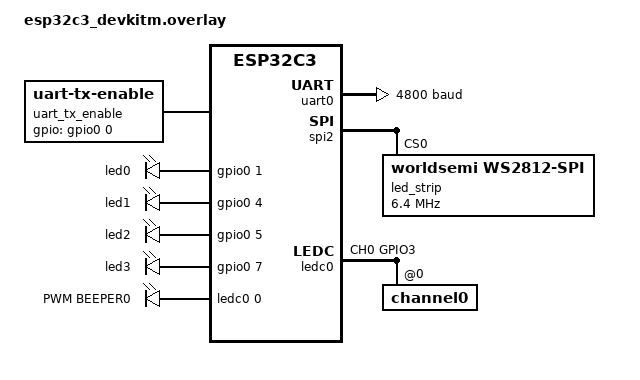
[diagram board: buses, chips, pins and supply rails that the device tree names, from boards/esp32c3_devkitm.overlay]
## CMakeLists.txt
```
# SPDX-License-Identifier: Apache-2.0

cmake_minimum_required(VERSION 3.20.0)

find_package(Zephyr REQUIRED HINTS $ENV{ZEPHYR_BASE})
project(vtbt)

target_sources(app PRIVATE src/main.c)
target_sources(app PRIVATE src/lk201.c)
```

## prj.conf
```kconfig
CONFIG_BT=y
CONFIG_BT_CENTRAL=y
CONFIG_BT_PRIVACY=y
CONFIG_BT_GATT_CLIENT=y
CONFIG_BT_BONDABLE=y
CONFIG_BT_SMP=y
CONFIG_BT_FIXED_PASSKEY=y
CONFIG_BT_SETTINGS=y
CONFIG_BT_SETTINGS_CCC_LAZY_LOADING=y
CONFIG_FLASH=y
CONFIG_FLASH_PAGE_LAYOUT=y
CONFIG_FLASH_MAP=y
CONFIG_NVS=y
# Uncomment to allow saving devices
#CONFIG_SETTINGS=y
CONFIG_BT_MAX_CONN=1
CONFIG_BT_MAX_PAIRED=1

CONFIG_SERIAL=y
CONFIG_UART_INTERRUPT_DRIVEN=y

CONFIG_LOG=n
CONFIG_LOG_DEFAULT_LEVEL=3
CONFIG_BT_DEBUG_LOG=n

CONFIG_LED_STRIP=y
CONFIG_WS2812_STRIP=y

CONFIG_SHELL_BACKEND_SERIAL=n
CONFIG_BOOT_BANNER=n
```

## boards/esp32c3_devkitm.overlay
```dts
/*
 * Copyright (c) 2022 Espressif Systems (Shanghai) Co., Ltd.
 *
 * SPDX-License-Identifier: Apache-2.0
 */

#include <zephyr/dt-bindings/led/led.h>
#include <zephyr/dt-bindings/pwm/pwm.h>

&uart0 {
	current-speed = <4800>;
};

&spi2 {
	/* Workaround to support WS2812 driver */
	line-idle-low;

        led_strip: ws2812@0 {
                compatible = "worldsemi,ws2812-spi";

                /* SPI */
                reg = <0>; /* ignored, but necessary for SPI bindings */
                spi-max-frequency = <6400000>;

                /* WS2812 */
                chain-length = <1>; /* arbitrary; change at will */
                spi-cpha;
                spi-one-frame = <0xf0>; /* 11110000: 625 ns high and 625 ns low */
                spi-zero-frame = <0xc0>; /* 11000000: 312.5 ns high and 937.5 ns low */
                color-mapping = <LED_COLOR_ID_GREEN
                                 LED_COLOR_ID_RED
                                 LED_COLOR_ID_BLUE>;
        };
};

&pinctrl {
	spim2_default: spim2_default {
		group2 {
			pinmux = <SPIM2_MOSI_GPIO8>;
		};
	};
	ledc0_default: ledc0_default {
		group1 {
			pinmux = <LEDC_CH0_GPIO3>;
			output-enable;
		};
	};
};

/ {
        aliases {
                led-strip = &led_strip;
        };

	chosen {
		zephyr,vt-uart = &uart0;
	};
//	chosen {
//		/delete-property/ zephyr,console;
//	};

        uart_tx_enable: uart_tx_enable {
                compatible = "uart-tx-enable";
                gpios = <&gpio0 0 GPIO_ACTIVE_HIGH>;
        };

	leds {
		compatible = "gpio-leds";
		led0: led0 {
			gpios = <&gpio0 1 GPIO_ACTIVE_HIGH>;
		};
		led1: led1 {
			gpios = <&gpio0 4 GPIO_ACTIVE_HIGH>;
		};
		led2: led2 {
			gpios = <&gpio0 5 GPIO_ACTIVE_HIGH>;
		};
		led3: led3 {
			gpios = <&gpio0 7 GPIO_ACTIVE_HIGH>;
		};
	};

	aliases {
		pwm-0 = &ledc0;
		pwm-beeper0 = &pwm_beeper;
	};

	pwmbeepers {
		compatible = "pwm-leds";
		pwm_beeper: pwm_led_gpio0_3 {
			label = "PWM BEEPER0";
			/* ~2 KHz */
			pwms = <&ledc0 0 40000000 PWM_POLARITY_NORMAL>;
		};
	};
};

&ledc0 {
        pinctrl-0 = <&ledc0_default>;
        pinctrl-names = "default";
        status = "okay";
        #address-cells = <1>;
        #size-cells = <0>;
        channel0@0 {
                reg = <0x0>;
                timer = <0>;
        };
};
```

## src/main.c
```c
#include <string.h>

#include <zephyr/kernel.h>
#include <zephyr/drivers/gpio.h>
#include <zephyr/drivers/uart.h>
#include <zephyr/logging/log.h>
#include <zephyr/drivers/pwm.h>

#include "lk201.h"
#include "bluetooth.h"
#include "config.h"

#define UART_DEVICE_NODE DT_CHOSEN(zephyr_vt_uart)

static const struct device *const uart_dev = DEVICE_DT_GET(UART_DEVICE_NODE);

static const struct gpio_dt_spec uart_tx_enable =
	GPIO_DT_SPEC_GET_OR(DT_NODELABEL(uart_tx_enable), gpios, {0});

#define NUM_LEDS 4
static const struct gpio_dt_spec leds[NUM_LEDS] = {
	GPIO_DT_SPEC_GET_OR(DT_NODELABEL(led0), gpios, {0}),
	GPIO_DT_SPEC_GET_OR(DT_NODELABEL(led1), gpios, {0}),
	GPIO_DT_SPEC_GET_OR(DT_NODELABEL(led2), gpios, {0}),
	GPIO_DT_SPEC_GET_OR(DT_NODELABEL(led3), gpios, {0}),
};

static const struct pwm_dt_spec pwm_beeper0 = PWM_DT_SPEC_GET(DT_ALIAS(pwm_beeper0));

LOG_MODULE_REGISTER(lk201, CONFIG_LOG_DEFAULT_LEVEL);

static int keys[NUM_KEYS];

static struct repeat_buffer repeat_buffers[NUM_REPEAT_BUFFERS] = {
	{ .timeout = 500, .interval = 30 },
	{ .timeout = 300, .interval = 30 },
	{ .timeout = 500, .interval = 40 },
	{ .timeout = 300, .interval = 40 },
};

static struct division divisions[NUM_DIVISIONS] = {
	{ .mode = MODE_AUTO_REPEAT,   .buffer =  0 }, /* Main array */
	{ .mode = MODE_AUTO_REPEAT,   .buffer =  0 }, /* Keypad */
	{ .mode = MODE_AUTO_REPEAT,   .buffer =  1 }, /* Delete */
	{ .mode = MODE_DOWN_ONLY,     .buffer = -1 }, /* Return and tab */
	{ .mode = MODE_DOWN_ONLY,     .buffer = -1 }, /* Lock and compose */
	{ .mode = MODE_DOWN_UP,       .buffer = -1 }, /* Shift and control */
	{ .mode = MODE_AUTO_REPEAT,   .buffer =  1 }, /* Horizontal cursors */
	{ .mode = MODE_AUTO_REPEAT,   .buffer =  1 }, /* Vertical cursors */
	{ .mode = MODE_DOWN_UP,       .buffer = -1 }, /* Six editing keys */
	{ .mode = MODE_DOWN_UP,       .buffer = -1 }, /* Function keys 1 */
	{ .mode = MODE_DOWN_UP,       .buffer = -1 }, /* Function keys 2 */
	{ .mode = MODE_DOWN_UP,       .buffer = -1 }, /* Function keys 3 */
	{ .mode = MODE_DOWN_UP,       .buffer = -1 }, /* Function keys 4 */
	{ .mode = MODE_DOWN_UP,       .buffer = -1 }, /* Function keys 5 */
};

/* hid_to_lk201_map */
#include "lk201_map.c"

static int
hid_to_lk201(int hid)
{
	if (hid < sizeof(hid_to_lk201_map)) {
		return hid_to_lk201_map[hid];
	} else {
		return 0x00;
	}
}

static int
lk201_keycode_to_division(int keycode)
{
	if ((keycode >= 0x56) && (keycode <= 0x62)) {
		return DIVISION_FUNCTION_KEYS_1;
	} else if ((keycode >= 0x63) && (keycode <= 0x6E)) {
		return DIVISION_FUNCTION_KEYS_2;
	} else if ((keycode >= 0x6F) && (keycode <= 0x7A)) {
		return DIVISION_FUNCTION_KEYS_3;
	} else if ((keycode >= 0x7B) && (keycode <= 0x7D)) {
		return DIVISION_FUNCTION_KEYS_4;
	} else if ((keycode >= 0x7E) && (keycode <= 0x87)) {
		return DIVISION_FUNCTION_KEYS_5;
	} else if ((keycode >= 0x88) && (keycode <= 0x90)) {
		return DIVISION_SIX_EDITING_KEYS;
	} else if ((keycode >= 0x91) && (keycode <= 0xA5)) {
		return DIVISION_KEYPAD;
	} else if ((keycode >= 0xA6) && (keycode <= 0xA8)) {
		return DIVISION_HORIZONTAL_CURSORS;
	} else if ((keycode >= 0xA9) && (keycode <= 0xAC)) {
		return DIVISION_VERTICAL_CURSORS;
	} else if ((keycode >= 0xAD) && (keycode <= 0xAF)) {
		return DIVISION_SHIFT_AND_CTRL;
	} else if ((keycode >= 0xB0) && (keycode <= 0xB2)) {
		return DIVISION_LOCK_AND_COMPOSE;
	} else if (keycode == 0xBC) {
		return DIVISION_DELETE;
	} else if ((keycode >= 0xBD) && (keycode <= 0xBE)) {
		return DIVISION_RETURN_AND_TAB;
	} else if ((keycode >= 0xBF) && (keycode <= 0xFF)) {
		return DIVISION_MAIN_ARRAY;
	} else {
		return -1;
	}
}

static uint8_t last_report[HID_REPORT_SIZE] = { 0x00 };

static bool is_in_report(int keycode, const uint8_t *report)
{
	for (int i = HID_REPORT_FIRST_KEY; i < HID_REPORT_SIZE; i++) {
		if (keycode == report[i]) {
			return true;
		}
	}

	return false;
}

K_MUTEX_DEFINE(uart_tx_mutex);

static void lk201_key_down(int keycode)
{
	if (keycode == 0x00) {
		return;
	}

	/* TODO */
	k_mutex_lock(&uart_tx_mutex, K_FOREVER);
	/* All Ups */
	uart_poll_out(uart_dev, keycode);
	k_mutex_unlock(&uart_tx_mutex);
}

static void lk201_key_up(int keycode)
{
	if (keycode == 0x00) {
		return;
	}

	/* TODO */
	k_mutex_lock(&uart_tx_mutex, K_FOREVER);
	/* All Ups */
	uart_poll_out(uart_dev, 0xB3);
	k_mutex_unlock(&uart_tx_mutex);
}

void hid_report_cb(const uint8_t *this_report)
{
	for (int i = HID_REPORT_FIRST_KEY; i < HID_REPORT_SIZE; i++) {
		if ((this_report[i] != 0x00) &&
		    !is_in_report(this_report[i], last_report)) {
			lk201_key_down(hid_to_lk201(this_report[i]));
		}
		if ((last_report[i] != 0x00) &&
		    !is_in_report(last_report[i], this_report)) {
			lk201_key_up(hid_to_lk201(last_report[i]));
		}
	}

	const uint8_t this_modifiers = this_report[0];
	const uint8_t last_modifiers = last_report[0];

	for (int i = 0; i < 8; i++) {
		int key = 0;
		if ((i == 0) || (i == 4)) {
			key = LK201_CTRL; /* Ctrl */
		} else if ((i == 1) || (i == 5)) {
			key = LK201_SHIFT; /* Shift*/
		} else {
			continue;
		}
		if ((this_modifiers & (1 << i)) &&
		    !(last_modifiers & (1 << i))) {
			lk201_key_down(key);
		}
		if ((last_modifiers & (1 << i)) &&
		    !(this_modifiers & (1 << i))) {
			lk201_key_up(key);
		}
	}

	memcpy(last_report, this_report, sizeof(last_report));
}

static void
send_power_on_test_result(void) {
	k_mutex_lock(&uart_tx_mutex, K_FOREVER);
	uart_poll_out(uart_dev, SPECIAL_KEYBOARD_ID_FIRMWARE);
	uart_poll_out(uart_dev, SPECIAL_KEYBOARD_ID_HARDWARE);
	uart_poll_out(uart_dev, 0x00); /* ERROR */
	uart_poll_out(uart_dev, 0x00); /* KEYCODE */
	k_mutex_unlock(&uart_tx_mutex);
}

struct message {
	uint8_t size;
	uint8_t buf[4];
};

K_MSGQ_DEFINE(uart_msgq, sizeof(struct message), 10, 4);

static void
serial_cb(const struct device *dev, void *user_data)
{
	struct message message = { 0 , { 0 } };

	uint8_t c;

	if (!uart_irq_update(uart_dev)) {
		return;
	}

	if (!uart_irq_rx_ready(uart_dev)) {
		return;
	}

	/* read until FIFO empty */
	while (uart_fifo_read(uart_dev, &c, 1) == 1) {
		if (c & 0x80) {
			/* no more parameters */
			message.buf[message.size++] = c;
			k_msgq_put(&uart_msgq, &message, K_NO_WAIT);
			message.size = 0;
		} else if (message.size < (sizeof(message.buf) - 1)) {
			message.buf[message.size++] = c;
		}
	}
}

static int keyclick_volume = -1;
static int bell_volume = -1;

K_MUTEX_DEFINE(beeper_mutex);

static void
beeper_on(int volume)
{
	const uint32_t pulse = (pwm_beeper0.period / 2U) * (8 - volume) / 8;
	k_mutex_lock(&beeper_mutex, K_FOREVER);
	int ret = pwm_set_dt(&pwm_beeper0, pwm_beeper0.period, pulse);
	k_mutex_unlock(&beeper_mutex);
	if (ret) {
		LOG_ERR("Error %d: failed to set pulse width", ret);
	}
}

static void
beeper_off(void)
{
	k_mutex_lock(&beeper_mutex, K_FOREVER);
	int ret = pwm_set_dt(&pwm_beeper0, pwm_beeper0.period, 0);
	k_mutex_unlock(&beeper_mutex);
	if (ret) {
		LOG_ERR("Error %d: failed to set pulse width", ret);
	}
}

void beeper_off_work_handler(struct k_work *work)
{
	beeper_off();
}

K_WORK_DEFINE(beeper_off_work, beeper_off_work_handler);

void beeper_off_timer_handler(struct k_timer *dummy)
{
    k_work_submit(&beeper_off_work);
}

K_TIMER_DEFINE(beeper_off_timer, beeper_off_timer_handler, NULL);

static void
sound_keyclick(void)
{
	if (keyclick_volume < 0) {
		return;
	}

	beeper_on(keyclick_volume);

	k_timer_start(&beeper_off_timer, K_MSEC(2), K_FOREVER);
}

static void
sound_bell(void)
{
	if (bell_volume < 0) {
		return;
	}

	beeper_on(bell_volume);

	k_timer_start(&beeper_off_timer, K_MSEC(125), K_FOREVER);
}

static void
handle_message(struct message *message)
{
	if ((message->size == 1) && (message->buf[0] == 0xFD)) {
		send_power_on_test_result();
	} else {
		k_mutex_lock(&uart_tx_mutex, K_FOREVER);
		uart_poll_out(uart_dev, 0xBA);
		k_mutex_unlock(&uart_tx_mutex);
	}

	if ((message->size == 2) && (message->buf[0] == 0x11)) {
		/* LEDS off */
		for (int i = 0; i < 4; i++) {
			if (message->buf[1] & (1 << i)) {
				gpio_pin_set_dt(&leds[i], 0);
			}
		}
	} else if ((message->size == 2) && (message->buf[0] == 0x13)) {
		/* LEDS on */
		for (int i = 0; i < 4; i++) {
			if (message->buf[1] & (1 << i)) {
				gpio_pin_set_dt(&leds[i], 1);
			}
		}
	} else if ((message->size == 1) && (message->buf[0] == 0x99)) {
		/* Disable keyclick */
		keyclick_volume = -1;
	} else if ((message->size == 2) && (message->buf[0] == 0x1B)) {
		/* Enable keyclick, set volume */
		keyclick_volume = message->buf[1] & 0x07;
	} else if ((message->size == 1) && (message->buf[0] == 0x9F)) {
		/* Sound keyclick */
		sound_keyclick();
	} else if ((message->size == 1) && (message->buf[0] == 0xA1)) {
		/* Disable bell */
		bell_volume = -1;
	} else if ((message->size == 2) && (message->buf[0] == 0x23)) {
		/* Enable keyclick, set volume */
		bell_volume = message->buf[1] & 0x07;
	} else if ((message->size == 1) && (message->buf[0] == 0xA7)) {
		/* Sound keyclick */
		sound_bell();
	}
}

static void
handle_messages(void)
{
	struct message message;

	while (k_msgq_get(&uart_msgq, &message, K_FOREVER) == 0) {
		handle_message(&message);
	}
}

int
main(void)
{
	int ret;

	if (!device_is_ready(uart_dev)) {
		LOG_ERR("UART device not found");
		return -1;
	}

	if (!gpio_is_ready_dt(&uart_tx_enable)) {
		LOG_ERR("UART TX enable pin GPIO port is not ready.");
		return -1;
	}

	ret = gpio_pin_configure_dt(&uart_tx_enable, GPIO_OUTPUT_ACTIVE);
	if (ret != 0) {
		LOG_ERR("Configuring GPIO pin failed: %d", ret);
		return -1;
	}

	for (int i = 0; i < NUM_LEDS; i++) {
		if (!gpio_is_ready_dt(&leds[i])) {
			LOG_ERR("led%d pin GPIO port is not ready.", i);
			return -1;
		}

		ret = gpio_pin_configure_dt(&leds[i], GPIO_OUTPUT_INACTIVE);
		if (ret != 0) {
			LOG_ERR("Configuring GPIO pin failed: %d", ret);
			return -1;
		}
	}

        if (!pwm_is_ready_dt(&pwm_beeper0)) {
                printk("Error: PWM device %s is not ready\n",
                       pwm_beeper0.dev->name);
                return 0;
        }

	for (int i = 0; i < NUM_KEYS; i++) {
		keys[i] = -1;
	}

	for (int i = 0; i < NUM_REPEAT_BUFFERS; i++) {
		repeat_buffers[i].timeout = 300;
		repeat_buffers[i].interval = 30;
	}

	send_power_on_test_result();

	ret = uart_irq_callback_user_data_set(uart_dev, serial_cb, NULL);
	if (ret < 0) {
		if (ret == -ENOTSUP) {
			LOG_ERR("Interrupt-driven UART API support not enabled");
		} else if (ret == -ENOSYS) {
			LOG_ERR("UART device does not support interrupt-driven API");
		} else {
			LOG_ERR("Error setting UART callback: %d", ret);
		}
		return -1;
	}
	uart_irq_rx_enable(uart_dev);

	ret = bluetooth_listen(hid_report_cb);
	if (ret < 0) {
		LOG_ERR("Bluetooth listening failed");
		return -1;
	}

	handle_messages();
}
```

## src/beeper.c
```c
#include <zephyr/kernel.h>
#include <zephyr/drivers/pwm.h>
#include <zephyr/logging/log.h>

#include "beeper.h"

LOG_MODULE_REGISTER(beeper, CONFIG_LOG_DEFAULT_LEVEL);

K_MUTEX_DEFINE(beeper_mutex);

static const struct pwm_dt_spec pwm_beeper0 =
	PWM_DT_SPEC_GET(DT_ALIAS(pwm_beeper0));

static int keyclick_volume = -1;
static int bell_volume = -1;

int
beeper_init(void)
{
	int ret = pwm_is_ready_dt(&pwm_beeper0);
        if (!ret) {
                printk("Error: Beeper PWM device %s is not ready\n",
                       pwm_beeper0.dev->name);
        }
	return ret;
}

void
beeper_set_bell_volume(int volume)
{
	bell_volume = volume;
}

void
beeper_set_keyclick_volume(int volume)
{
	keyclick_volume = volume;
}

static void
beeper_on(int volume)
{
	const uint32_t pulse = (pwm_beeper0.period / 2U) * (8 - volume) / 8;
	k_mutex_lock(&beeper_mutex, K_FOREVER);
	int ret = pwm_set_dt(&pwm_beeper0, pwm_beeper0.period, pulse);
	k_mutex_unlock(&beeper_mutex);
	if (ret) {
		LOG_ERR("Error %d: failed to set pulse width", ret);
	}
}

static void
beeper_off(void)
{
	k_mutex_lock(&beeper_mutex, K_FOREVER);
	int ret = pwm_set_dt(&pwm_beeper0, pwm_beeper0.period, 0);
	k_mutex_unlock(&beeper_mutex);
	if (ret) {
		LOG_ERR("Error %d: failed to set pulse width", ret);
	}
}

void beeper_off_work_handler(struct k_work *work)
{
	beeper_off();
}

K_WORK_DEFINE(beeper_off_work, beeper_off_work_handler);

void beeper_off_timer_handler(struct k_timer *dummy)
{
	k_work_submit(&beeper_off_work);
}

K_TIMER_DEFINE(beeper_off_timer, beeper_off_timer_handler, NULL);

void
beeper_sound_keyclick(void)
{
	if (keyclick_volume < 0) {
		return;
	}

	beeper_on(keyclick_volume);

	k_timer_start(&beeper_off_timer, K_MSEC(2), K_FOREVER);
}

void
beeper_sound_bell(void)
{
	if (bell_volume < 0) {
		return;
	}

	beeper_on(bell_volume);

	k_timer_start(&beeper_off_timer, K_MSEC(125), K_FOREVER);
}
```

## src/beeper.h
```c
#ifndef BEEPER_H
#define BEEPER_H

/* Volumes are 0 (highest) to 7 (lowest) or -1 (disabled) */

int beeper_init(void);
void beeper_set_bell_volume(int volume);
void beeper_set_keyclick_volume(int volume);
void beeper_sound_bell(void);
void beeper_sound_keyclick(void);

#endif /* BEEPER_H */
```

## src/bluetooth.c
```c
/*
 * Copyright (c) 2015-2016 Intel Corporation
 *
 * SPDX-License-Identifier: Apache-2.0
 */

#include <zephyr/types.h>
#include <stddef.h>
#include <errno.h>
#include <zephyr/logging/log.h>
#include <zephyr/kernel.h>

#include <zephyr/drivers/uart.h>

#include <zephyr/bluetooth/bluetooth.h>
#include <zephyr/bluetooth/hci.h>
#include <zephyr/bluetooth/conn.h>
#include <zephyr/bluetooth/uuid.h>
#include <zephyr/bluetooth/gatt.h>
#include <zephyr/settings/settings.h>
#include <zephyr/sys/byteorder.h>

#include <zephyr/drivers/led_strip.h>

#include "vtbt.h"
#include "lk201.h"

#define STRIP_NODE              DT_ALIAS(led_strip)
#define STRIP_NUM_PIXELS        DT_PROP(DT_ALIAS(led_strip), chain_length)

LOG_MODULE_REGISTER(main, CONFIG_LOG_DEFAULT_LEVEL);

static void (*hid_report_cb)(const uint8_t *report);

static struct led_rgb pixels[STRIP_NUM_PIXELS];

static const struct device *const strip = DEVICE_DT_GET(STRIP_NODE);

static const struct led_rgb color_black = { .r = 0x00, .g = 0x00, .b = 0x00 };
static const struct led_rgb color_amber = { .r = 0x03, .g = 0x01, .b = 0x00 };
static const struct led_rgb color_blue  = { .r = 0x00, .g = 0x00, .b = 0x04 };
static const struct led_rgb color_green = { .r = 0x00, .g = 0x04, .b = 0x00 };

static void
rgb_led_set(const struct led_rgb *color)
{
	memset(&pixels, 0x00, sizeof(pixels));
	for (int i = 0; i < STRIP_NUM_PIXELS; i++) {
		memcpy(&pixels[i], color, sizeof(struct led_rgb));
	}
	int rc = led_strip_update_rgb(strip, pixels, STRIP_NUM_PIXELS);
	if (rc) {
		LOG_ERR("Couldn't update strip: %d", rc);
	}
}

static void start_scan(void);

static struct bt_conn *default_conn;

static struct bt_uuid_16 discover_uuid = BT_UUID_INIT_16(0);
static struct bt_gatt_discover_params discover_params;
static struct bt_gatt_subscribe_params subscribe_params;

static void
pairing_complete_func(struct bt_conn *conn, bool bonded)
{
	ARG_UNUSED(conn);
	ARG_UNUSED(bonded);

	rgb_led_set(&color_amber);
}

static struct bt_conn_auth_info_cb auth_info_cb = {
	.pairing_complete = pairing_complete_func,
	.pairing_failed = NULL,
	.bond_deleted = NULL,
};

static uint8_t
notify_func(struct bt_conn *conn,
            struct bt_gatt_subscribe_params *params,
            const void *data, uint16_t length)
{
	ARG_UNUSED(conn);

	if (!data) {
		LOG_INF("[UNSUBSCRIBED]");
		params->value_handle = 0U;
		return BT_GATT_ITER_STOP;
	}

	if (length == HID_REPORT_SIZE) {
		hid_report_cb((const uint8_t *)data);
	} else {
		LOG_INF("[NOTIFICATION] data %p length %u", data, length);
	}

	return BT_GATT_ITER_CONTINUE;
}

static uint16_t hids_handle = 0;

static uint8_t
discover_func(struct bt_conn *conn,
              const struct bt_gatt_attr *attr,
              struct bt_gatt_discover_params *params)
{
	int err;

	if (!attr) {
		LOG_INF("Discover complete");
		(void)memset(params, 0, sizeof(*params));
		return BT_GATT_ITER_STOP;
	}

	LOG_INF("[ATTRIBUTE] handle %u", attr->handle);

	if (!bt_uuid_cmp(discover_params.uuid, BT_UUID_HIDS)) {
		hids_handle = attr->handle;
		memcpy(&discover_uuid, BT_UUID_HIDS_BOOT_KB_IN_REPORT,
		       sizeof(discover_uuid));
		discover_params.uuid = &discover_uuid.uuid;
		discover_params.start_handle = hids_handle + 1;
		discover_params.type = BT_GATT_DISCOVER_CHARACTERISTIC;

		err = bt_gatt_discover(conn, &discover_params);
		if (err) {
			LOG_ERR("Discover failed (err %d)", err);
		}
	} else if (!bt_uuid_cmp(discover_params.uuid,
	                        BT_UUID_HIDS_BOOT_KB_IN_REPORT)) {
		memcpy(&discover_uuid, BT_UUID_HIDS_BOOT_KB_OUT_REPORT,
		       sizeof(discover_uuid));
		discover_params.uuid = &discover_uuid.uuid;
		discover_params.start_handle = hids_handle + 1;
		discover_params.type = BT_GATT_DISCOVER_CHARACTERISTIC;

		err = bt_gatt_discover(conn, &discover_params);
		if (err) {
			LOG_ERR("Discover failed (err %d)", err);
		}
	} else if (!bt_uuid_cmp(discover_params.uuid,
	                        BT_UUID_HIDS_BOOT_KB_OUT_REPORT)) {
		memcpy(&discover_uuid, BT_UUID_HIDS_REPORT,
		       sizeof(discover_uuid));
		discover_params.uuid = &discover_uuid.uuid;
		discover_params.start_handle = hids_handle + 1;
		discover_params.type = BT_GATT_DISCOVER_CHARACTERISTIC;

		err = bt_gatt_discover(conn, &discover_params);
		if (err) {
			LOG_ERR("Discover failed (err %d)", err);
		}
	} else if (!bt_uuid_cmp(discover_params.uuid, BT_UUID_HIDS_REPORT)) {
		memcpy(&discover_uuid, BT_UUID_GATT_CCC, sizeof(discover_uuid));
		discover_params.uuid = &discover_uuid.uuid;
		discover_params.start_handle = attr->handle + 1;
		discover_params.type = BT_GATT_DISCOVER_DESCRIPTOR;
		subscribe_params.value_handle = bt_gatt_attr_value_handle(attr);

		err = bt_gatt_discover(conn, &discover_params);
		if (err) {
			LOG_ERR("Discover failed (err %d)", err);
		}
	} else {
		subscribe_params.notify = notify_func;
		subscribe_params.value = BT_GATT_CCC_NOTIFY;
		subscribe_params.ccc_handle = attr->handle;

		err = bt_gatt_subscribe(conn, &subscribe_params);
		if (err && err != -EALREADY) {
			LOG_ERR("Subscribe failed (err %d)", err);
		} else {
			LOG_ERR("[SUBSCRIBED]");
			rgb_led_set(&color_green);
		}

		return BT_GATT_ITER_STOP;
	}

	return BT_GATT_ITER_STOP;
}

static bool
eir_found(struct bt_data *data, void *user_data)
{
	bt_addr_le_t *addr = user_data;
	int i;

	switch (data->type) {
	case BT_DATA_UUID16_SOME:
	case BT_DATA_UUID16_ALL:
		if (data->data_len % sizeof(uint16_t) != 0U) {
			LOG_ERR("AD malformed");
			return true;
		}

		for (i = 0; i < data->data_len; i += sizeof(uint16_t)) {
			struct bt_le_conn_param *param;
			const struct bt_uuid *uuid;
			uint16_t u16;
			int err;

			memcpy(&u16, &data->data[i], sizeof(u16));
			uuid = BT_UUID_DECLARE_16(sys_le16_to_cpu(u16));
			if (bt_uuid_cmp(uuid, BT_UUID_HIDS)) {
				continue;
			}

			err = bt_le_scan_stop();
			if (err) {
				LOG_ERR("Stop LE scan failed (err %d)", err);
				continue;
			}

			param = BT_LE_CONN_PARAM_DEFAULT;
			err = bt_conn_le_create(addr, BT_CONN_LE_CREATE_CONN,
						param, &default_conn);
			if (err) {
				LOG_ERR("Create conn failed (err %d)", err);
				start_scan();
			}

			return false;
		}
	}

	return true;
}

static void
device_found(const bt_addr_le_t *addr, int8_t rssi, uint8_t type,
             struct net_buf_simple *ad)
{
	ARG_UNUSED(rssi);

	char dev[BT_ADDR_LE_STR_LEN];

	bt_addr_le_to_str(addr, dev, sizeof(dev));

	/* We're only interested in connectable events */
	if (type == BT_GAP_ADV_TYPE_ADV_IND ||
	    type == BT_GAP_ADV_TYPE_ADV_DIRECT_IND) {
		bt_data_parse(ad, eir_found, (void *)addr);
	}
}

static void
start_scan(void)
{
	int err;

	/* Use active scanning and disable duplicate filtering to handle any
	 * devices that might update their advertising data at runtime. */
	struct bt_le_scan_param scan_param = {
		.type       = BT_LE_SCAN_TYPE_ACTIVE,
		.options    = BT_LE_SCAN_OPT_NONE,
		.interval   = BT_GAP_SCAN_FAST_INTERVAL,
		.window     = BT_GAP_SCAN_FAST_WINDOW,
	};

	err = bt_le_scan_start(&scan_param, device_found);
	if (err) {
		LOG_ERR("Scanning failed to start (err %d)", err);
		return;
	}

	LOG_INF("Scanning successfully started");

	rgb_led_set(&color_blue);
}

static void
connected(struct bt_conn *conn, uint8_t conn_err)
{
	char addr[BT_ADDR_LE_STR_LEN];
	int err;

	bt_addr_le_to_str(bt_conn_get_dst(conn), addr, sizeof(addr));

	if (conn_err) {
		LOG_ERR("Failed to connect to %s (%u)", addr, conn_err);

		bt_conn_unref(default_conn);
		default_conn = NULL;

		start_scan();
		return;
	}

	LOG_INF("Connected: %s", addr);

	if (conn == default_conn) {
		bt_conn_set_security(conn, BT_SECURITY_L2);

		memcpy(&discover_uuid, BT_UUID_HIDS, sizeof(discover_uuid));
		discover_params.uuid = &discover_uuid.uuid;
		discover_params.func = discover_func;
		discover_params.start_handle = BT_ATT_FIRST_ATTRIBUTE_HANDLE;
		discover_params.end_handle = BT_ATT_LAST_ATTRIBUTE_HANDLE;
		discover_params.type = BT_GATT_DISCOVER_PRIMARY;

		err = bt_gatt_discover(default_conn, &discover_params);
		if (err) {
			LOG_ERR("Discover failed(err %d)", err);
			return;
		}
	}
}

static void
disconnected(struct bt_conn *conn, uint8_t reason)
{
	char addr[BT_ADDR_LE_STR_LEN];

	bt_addr_le_to_str(bt_conn_get_dst(conn), addr, sizeof(addr));

	LOG_INF("Disconnected: %s (reason 0x%02x)", addr, reason);

	if (default_conn != conn) {
		return;
	}

	bt_conn_unref(default_conn);
	default_conn = NULL;

	start_scan();
}

BT_CONN_CB_DEFINE(conn_callbacks) = {
	.connected = connected,
	.disconnected = disconnected,
};

int
bluetooth_listen(void (*callback)(const uint8_t *))
{
	hid_report_cb = callback;

	if (device_is_ready(strip)) {
		LOG_INF("Found LED strip device %s", strip->name);
	} else {
		LOG_ERR("LED strip device %s is not ready", strip->name);
	}

	/* Not sure why this needs to be called two times at first */
	rgb_led_set(&color_black);
	rgb_led_set(&color_black);

	int err;
	err = bt_enable(NULL);

	if (IS_ENABLED(CONFIG_SETTINGS)) {
		settings_load();
	}

	bt_set_bondable(true);

	bt_passkey_set(123456);

	if (err) {
		LOG_ERR("Bluetooth init failed (err %d)", err);
		return 0;
	}

	bt_conn_auth_info_cb_register(&auth_info_cb);

	LOG_INF("Bluetooth initialized");

	start_scan();

	LOG_INF("Listening");

	return 0;
}
```

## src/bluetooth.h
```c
#ifndef BLUETOOTH_H
#define BLUETOOTH_H

/* Scan and connect to a Bluetooth keyboard, sending keyboard HID reports to
 * the callback function. */
int bluetooth_listen(void (*callback)(const uint8_t *report));

#endif /* BLUETOOTH_H */
```

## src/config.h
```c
#ifndef CONFIG_H
#define CONFIG_H

#define HID_REPORT_SIZE 8
#define HID_REPORT_FIRST_KEY 2

#endif /* CONFIG_H */
```

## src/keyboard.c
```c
#include <string.h>

#include <zephyr/kernel.h>

#include "vtbt.h"
#include "keyboard.h"
#include "uart.h"
#include "beeper.h"
#include "metronome.h"
#include "lk201.h"

/* Slab for new keys_down nodes */
K_MEM_SLAB_DEFINE(
	keys_down_slab,
	ROUND_UP(sizeof(struct key_down), 4),
	16, 4
);

/* New HID reports are compared to the previous HID report to identify changes
 * in the keys currently down. */
static uint8_t last_report[HID_REPORT_SIZE] = { 0x00 };

/* Keyclick on ctrl is disabled by default. */
static bool ctrl_keyclick = false;

void
keyboard_ctrl_keyclick_enable(void)
{
	ctrl_keyclick = true;
}

void
keyboard_ctrl_keyclick_disable(void)
{
	ctrl_keyclick = false;
}

void
keyboard_init_defaults(void)
{
	ctrl_keyclick = false;
}

static bool
is_in_report(int keycode, const uint8_t *report)
{
	for (int i = HID_REPORT_FIRST_KEY; i < HID_REPORT_SIZE; i++) {
		if (keycode == report[i]) {
			return true;
		}
	}

	return false;
}

static void
key_down(sys_dlist_t *keys_down, int keycode)
{
	if (keycode == 0x00) {
		return;
	}

	int ret;
	struct key_down *node;
	ret = k_mem_slab_alloc(&keys_down_slab, (void **)&node, K_NO_WAIT);
	if (ret < 0) {
		return;
	}

	sys_dnode_init(&node->node);

	node->keycode = keycode;
	node->time = k_uptime_get();
	node->repeating = false;
	node->inhibit_auto_repeat = false;

	sys_dlist_prepend(keys_down, &node->node);

	int sent = uart_write_byte(keycode);
	node->sent = sent > 0;
	if (sent > 0) {
		if (keycode == LK201_CTRL) {
			if (ctrl_keyclick) {
				beeper_sound_keyclick();
			}
		} else {
			beeper_sound_keyclick();
		}
	}

	metronome_resend();
}

/* Track Down/Up keys released in this report */
static int up_down_ups[16];
static int up_down_ups_count = 0;

/* Send codes for released Down/Up keys (or ALL UPS if none left pressed ) */
static void
send_up_down_ups(sys_dlist_t *keys_down) {
	if (up_down_ups_count <= 0) {
		return;
	}

	struct key_down *cn;
	bool other_down_up = false;
	SYS_DLIST_FOR_EACH_CONTAINER(keys_down, cn, node) {
		struct division *division =
			lk201_division_get_from_keycode(cn->keycode);
		if (division == NULL) {
			continue;
		} else if (division->mode == MODE_DOWN_UP) {
			other_down_up = true;
			break;
		}
	}

	if (!other_down_up) {
		uart_write_byte(SPECIAL_ALL_UPS);
		metronome_resend();
	} else {
		while (up_down_ups_count--) {
			uart_write_byte(up_down_ups[up_down_ups_count]);
			metronome_resend();
		}
	}
}

static void
key_up(sys_dlist_t *keys_down, int keycode)
{
	if (keycode == 0x00) {
		return;
	}

	struct key_down *cn, *cns;

	SYS_DLIST_FOR_EACH_CONTAINER_SAFE(keys_down, cn, cns, node) {
		if (cn->keycode == keycode) {
			sys_dlist_remove(&cn->node);
			k_mem_slab_free(&keys_down_slab, (void *)cn);
			break;
		}
	}

	struct division *division = lk201_division_get_from_keycode(keycode);
	if (division == NULL) {
		return;
	} else if (division->mode == MODE_DOWN_UP) {
		up_down_ups[up_down_ups_count++] = keycode;
	}
}

void
keyboard_event(sys_dlist_t *keys_down, const struct event *event)
{
	const uint8_t *this_report = event->buf;

	const uint8_t this_modifiers = this_report[0];
	const uint8_t last_modifiers = last_report[0];

	up_down_ups_count = 0;

	/* Process the modifiers byte. */
	for (int i = 0; i < 8; i++) {
		int key = 0;
		if ((i == 0) || (i == 4)) {
			key = LK201_CTRL; /* Ctrl */
		} else if ((i == 1) || (i == 5)) {
			key = LK201_SHIFT; /* Shift*/
		} else {
			continue;
		}
		if ((this_modifiers & (1 << i)) &&
		    !(last_modifiers & (1 << i))) {
			key_down(keys_down, key);
		}
		if ((last_modifiers & (1 << i)) &&
		    !(this_modifiers & (1 << i))) {
			key_up(keys_down, key);
		}
	}

	for (int i = HID_REPORT_FIRST_KEY; i < HID_REPORT_SIZE; i++) {
		if ((this_report[i] != 0x00) &&
		    !is_in_report(this_report[i], last_report)) {
			int keycode =
				lk201_keycode_get_from_hid(this_report[i]);
			key_down(keys_down, keycode);
		}
		if ((last_report[i] != 0x00) &&
		    !is_in_report(last_report[i], this_report)) {
			int keycode =
				lk201_keycode_get_from_hid(last_report[i]);
			key_up(keys_down, keycode);
		}
	}

	memcpy(last_report, this_report, sizeof(last_report));

	send_up_down_ups(keys_down);
}
```

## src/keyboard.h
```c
#ifndef KEYBOARD_H
#define KEYBOARD_H

#include <zephyr/kernel.h>

#include "vtbt.h"

void keyboard_event(sys_dlist_t *, const struct event *);

#endif /* KEYBOARD_H */
```

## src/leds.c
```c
#include <zephyr/drivers/gpio.h>
#include <zephyr/logging/log.h>

#include "leds.h"

LOG_MODULE_REGISTER(leds, CONFIG_LOG_DEFAULT_LEVEL);

static const struct gpio_dt_spec leds[NUM_LEDS] = {
	GPIO_DT_SPEC_GET_OR(DT_NODELABEL(led0), gpios, {0}),
	GPIO_DT_SPEC_GET_OR(DT_NODELABEL(led1), gpios, {0}),
	GPIO_DT_SPEC_GET_OR(DT_NODELABEL(led2), gpios, {0}),
	GPIO_DT_SPEC_GET_OR(DT_NODELABEL(led3), gpios, {0}),
};

int
leds_init(void)
{
	int ret;
	for (int i = 0; i < NUM_LEDS; i++) {
		if (!gpio_is_ready_dt(&leds[i])) {
			LOG_ERR("led%d pin GPIO port is not ready.", i);
			return -1;
		}

		ret = gpio_pin_configure_dt(&leds[i], GPIO_OUTPUT_INACTIVE);
		if (ret != 0) {
			LOG_ERR("Configuring led%d GPIO pin failed: %d",
			        i, ret);
			return -1;
		}
	}

	return 0;
}

void
leds_on(int which)
{
	gpio_pin_set_dt(&leds[which], 1);
}

void
leds_off(int which)
{
	gpio_pin_set_dt(&leds[which], 0);
}
```

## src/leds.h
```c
#ifndef LEDS_H
#define LEDS_H

#define NUM_LEDS 4

#define LED_HOLD_SCREEN  3
#define LED_LOCK         2
#define LED_COMPOSE      1
#define LED_WAIT         0

int leds_init(void);
void leds_set(int which, int value);

#endif /* LEDS_H */
```

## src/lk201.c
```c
#include <stdlib.h>
#include <string.h>

#include "lk201.h"

static struct repeat_buffer repeat_buffers[NUM_REPEAT_BUFFERS];
static struct repeat_buffer repeat_buffers_default[NUM_REPEAT_BUFFERS] = {
	{ .timeout = 500, .interval = 1000 / 30 },
	{ .timeout = 300, .interval = 1000 / 30 },
	{ .timeout = 500, .interval = 1000 / 40 },
	{ .timeout = 300, .interval = 1000 / 40 },
};

static struct division divisions[NUM_DIVISIONS];
static struct division divisions_default[NUM_DIVISIONS] = {
	{ .mode = MODE_AUTO_REPEAT,   .buffer =  0 }, /* Main array */
	{ .mode = MODE_AUTO_REPEAT,   .buffer =  0 }, /* Keypad */
	{ .mode = MODE_AUTO_REPEAT,   .buffer =  1 }, /* Delete */
	{ .mode = MODE_DOWN_ONLY,     .buffer = -1 }, /* Return and tab */
	{ .mode = MODE_DOWN_ONLY,     .buffer = -1 }, /* Lock and compose */
	{ .mode = MODE_DOWN_UP,       .buffer = -1 }, /* Shift and control */
	{ .mode = MODE_AUTO_REPEAT,   .buffer =  1 }, /* Horizontal cursors */
	{ .mode = MODE_AUTO_REPEAT,   .buffer =  1 }, /* Vertical cursors */
	{ .mode = MODE_DOWN_UP,       .buffer = -1 }, /* Six editing keys */
	{ .mode = MODE_DOWN_UP,       .buffer = -1 }, /* Function keys 1 */
	{ .mode = MODE_DOWN_UP,       .buffer = -1 }, /* Function keys 2 */
	{ .mode = MODE_DOWN_UP,       .buffer = -1 }, /* Function keys 3 */
	{ .mode = MODE_DOWN_UP,       .buffer = -1 }, /* Function keys 4 */
	{ .mode = MODE_DOWN_UP,       .buffer = -1 }, /* Function keys 5 */
};

void
lk201_init_defaults(void)
{
	memcpy(repeat_buffers, repeat_buffers_default, sizeof(repeat_buffers));
	memcpy(divisions, divisions_default, sizeof(divisions));
}

struct repeat_buffer *
lk201_repeat_buffer_get(int repeat_buffer)
{
	return &repeat_buffers[repeat_buffer];
}

struct division *
lk201_division_get(int division)
{
	return &divisions[division];
}

struct division *
lk201_division_get_from_keycode(int keycode)
{
	int division = -1;
	if ((keycode >= 0x56) && (keycode <= 0x62)) {
		division = DIVISION_FUNCTION_KEYS_1;
	} else if ((keycode >= 0x63) && (keycode <= 0x6E)) {
		division = DIVISION_FUNCTION_KEYS_2;
	} else if ((keycode >= 0x6F) && (keycode <= 0x7A)) {
		division = DIVISION_FUNCTION_KEYS_3;
	} else if ((keycode >= 0x7B) && (keycode <= 0x7D)) {
		division = DIVISION_FUNCTION_KEYS_4;
	} else if ((keycode >= 0x7E) && (keycode <= 0x87)) {
		division = DIVISION_FUNCTION_KEYS_5;
	} else if ((keycode >= 0x88) && (keycode <= 0x90)) {
		division = DIVISION_SIX_EDITING_KEYS;
	} else if ((keycode >= 0x91) && (keycode <= 0xA5)) {
		division = DIVISION_KEYPAD;
	} else if ((keycode >= 0xA6) && (keycode <= 0xA8)) {
		division = DIVISION_HORIZONTAL_CURSORS;
	} else if ((keycode >= 0xA9) && (keycode <= 0xAC)) {
		division = DIVISION_VERTICAL_CURSORS;
	} else if ((keycode >= 0xAD) && (keycode <= 0xAF)) {
		division = DIVISION_SHIFT_AND_CTRL;
	} else if ((keycode >= 0xB0) && (keycode <= 0xB2)) {
		division = DIVISION_LOCK_AND_COMPOSE;
	} else if (keycode == 0xBC) {
		division = DIVISION_DELETE;
	} else if ((keycode >= 0xBD) && (keycode <= 0xBE)) {
		division = DIVISION_RETURN_AND_TAB;
	} else if ((keycode >= 0xBF) && (keycode <= 0xFF)) {
		division = DIVISION_MAIN_ARRAY;
	}

	return (division >= 0) ? &divisions[division] : NULL;
}

/* lk201_keycode_from_hid_map */
#include "lk201_map.c"

int
lk201_keycode_get_from_hid(int hid)
{
	if (hid < (int)sizeof(hid_to_lk201_map)) {
		return hid_to_lk201_map[hid];
	} else {
		return 0x00;
	}
}

void
lk201_change_all_auto_repeat_to_down_only(void)
{
	for (int i = 0; i < NUM_DIVISIONS; i++) {
		struct division *division = &divisions[i];
		if (division->mode == MODE_AUTO_REPEAT) {
			division->mode = MODE_DOWN_ONLY;
		}
	}
}
```

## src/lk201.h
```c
#ifndef LK201_H
#define LK201_H

#include <stdint.h>

#define NUM_KEYS 256

#define NUM_DIVISIONS 14

#define NUM_REPEAT_BUFFERS 4

#define MODE_DOWN_ONLY         0x00
#define MODE_AUTO_REPEAT       0x01
#define MODE_DOWN_UP           0x03

/* These are one less than their protocol values */
#define DIVISION_MAIN_ARRAY              0
#define DIVISION_KEYPAD                  1
#define DIVISION_DELETE                  2
#define DIVISION_RETURN_AND_TAB          3
#define DIVISION_LOCK_AND_COMPOSE        4
#define DIVISION_SHIFT_AND_CTRL          5
#define DIVISION_HORIZONTAL_CURSORS      6
#define DIVISION_VERTICAL_CURSORS        7
#define DIVISION_SIX_EDITING_KEYS        8
#define DIVISION_FUNCTION_KEYS_1         9
#define DIVISION_FUNCTION_KEYS_2        10
#define DIVISION_FUNCTION_KEYS_3        11
#define DIVISION_FUNCTION_KEYS_4        12
#define DIVISION_FUNCTION_KEYS_5        13

/* Keyboard IDs */
#define SPECIAL_KEYBOARD_ID_FIRMWARE        0x01
#define SPECIAL_KEYBOARD_ID_HARDWARE        0x00
/* Key down during self-test */
#define SPECIAL_KEY_DOWN_ON_POWER_UP_ERROR  0x3D
/* Self test failed */
#define SPECIAL_POWER_UP_SELF_TEST_ERROR    0x3E
/* Down/up key was released and no other down/up keys pressed */
#define SPECIAL_ALL_UPS                     0xb3
/* Auto-repeat interval has passed with key down */
#define SPECIAL_METRONOME                   0xb4
/* Output buffer overflow during keyboard inhibit */
#define SPECIAL_OUTPUT_ERROR                0xb5
/* Received invalid command or parameters */
#define SPECIAL_INPUT_ERROR                 0xb6
/* Keyboard received inhibit transmission command */
#define SPECIAL_KBD_LOCKED_ACK              0xb7
/* Keyboard has entered test mode */
#define SPECIAL_TEST_MODE_ACK               0xb8
/* Next byte is keycode for a down key in a division that changed to down/up */
#define SPECIAL_PREFIX_TO_KEYS_DOWN         0xb9
/* Keyboard has processed a mode change command */
#define SPECIAL_MODE_CHANGE_ACK             0xba
#define SPECIAL_RESERVED                    0x7f

/* Power-up transmission
 * Byte 1: KBID (firmware) 0x01
 * Byte 2: KBID (hardware) 0x00
 * Byte 3: ERROR (0x3D or 0x3E)
 * Byte 4: KEYCODE (0x00 for no key down
 */

struct repeat_buffer {
	/* Milliseconds before auto-repeating */
	int timeout;
	/* Metronome codes per second */
	int interval;
};

struct division {
	int mode;
	int buffer;
};

void lk201_main(void);
void lk201_handle_hid_report(const uint8_t *this_report);

#endif /* LK201_H */
```

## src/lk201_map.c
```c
static int hid_to_lk201_map[128] = {
	0x00 /* 0x00 No key pressed */,
	0x00 /* 0x01 Phantom key */,
	0x00 /* 0x02 POST fail */,
	0x00 /* 0x03 Undefined error */,
	0xc2 /* 0x04 A */,
	0xd9 /* 0x05 B */,
	0xce /* 0x06 C */,
	0xcd /* 0x07 D */,
	0xcc /* 0x08 E */,
	0xd2 /* 0x09 F */,
	0xd8 /* 0x0A G */,
	0xdd /* 0x0B H */,
	0xe6 /* 0x0C I */,
	0xe2 /* 0x0D J */,
	0xe7 /* 0x0E K */,
	0xec /* 0x0F L */,
	0xe3 /* 0x10 M */,
	0xde /* 0x11 N */,
	0xeb /* 0x12 O */,
	0xf0 /* 0x13 P */,
	0xc1 /* 0x14 Q */,
	0xd1 /* 0x15 R */,
	0xc7 /* 0x16 S */,
	0xd7 /* 0x17 T */,
	0xe1 /* 0x18 U */,
	0xd3 /* 0x19 V */,
	0xc6 /* 0x1a W */,
	0xc8 /* 0x1b X */,
	0xdc /* 0x1c Y */,
	0xc3 /* 0x1d Z */,
	0xc0 /* 0x1e 1 */,
	0xc5 /* 0x1f 2 */,
	0xcB /* 0x20 3 */,
	0xd0 /* 0x21 4 */,
	0xd6 /* 0x22 5 */,
	0xdb /* 0x23 6 */,
	0xe0 /* 0x24 7 */,
	0xe5 /* 0x25 8 */,
	0xea /* 0x26 9 */,
	0xef /* 0x27 0 */,
	0xbd /* 0x28 Enter */,
	0x71 /* 0x29 Escape */,
	0xbc /* 0x2a Delete */,
	0xbe /* 0x2b Tab */,
	0xd4 /* 0x2c Spacebar */,
	0xf9 /* 0x2d - */,
	0xf5 /* 0x2e = */,
	0xfa /* 0x2f [ */,
	0xf6 /* 0x30 ] */,
	0xf7 /* 0x31 \ */,
	0x00 /* 0x32 # (Non-US) */,
	0xf2 /* 0x33 ; */,
	0xfb /* 0x34 ' */,
	0xbf /* 0x35 ` */,
	0xe8 /* 0x36 , */,
	0xed /* 0x37 . */,
	0xf3 /* 0x38 / */,
	0xb0 /* 0x39 Caps Lock */,
	0x56 /* 0x3a F1 */,
	0x57 /* 0x3b F2 */,
	0x58 /* 0x3c F3 */,
	0x59 /* 0x3d F4 */,
	0x5a /* 0x3e F5 */,
	0x64 /* 0x3f F6 */,
	0x65 /* 0x40 F7 */,
	0x66 /* 0x41 F8 */,
	0x67 /* 0x42 F9 */,
	0x68 /* 0x43 F10 */,
	0x71 /* 0x44 F11 */,
	0x72 /* 0x45 F12 */,
	0x57 /* 0x46 Print Screen */,
	0x00 /* 0x47 Scroll Lock */,
	0x00 /* 0x48 Pause */,
	0x8b /* 0x49 Insert */,
	0x00 /* 0x4a Home */,
	0x00 /* 0x4b Page Up */,
	0xbc /* 0x4c Delete Forward */,
	0x00 /* 0x4d End */,
	0x00 /* 0x4e Page Down */,
	0xa8 /* 0x4f Right Arrow */,
	0xa7 /* 0x50 Left Arrow */,
	0xa9 /* 0x51 Down Arrow */,
	0xaa /* 0x52 Up Arrow */,
	0xa1 /* 0x53 Keypad Num Lock */,
	0xa2 /* 0x54 Keypad / */,
	0xa3 /* 0x55 Keypad * */,
	0xa4 /* 0x56 Keypad - */,
	0xa0 /* 0x57 Keypad + */,
	0x95 /* 0x58 Keypad Enter */,
	0x96 /* 0x59 Keypad 1 */,
	0x97 /* 0x5a Keypad 2 */,
	0x98 /* 0x5b Keypad 3 */,
	0x99 /* 0x5c Keypad 4 */,
	0x9a /* 0x5d Keypad 5 */,
	0x9b /* 0x5e Keypad 6 */,
	0x9d /* 0x5f Keypad 7 */,
	0x9e /* 0x60 Keypad 8 */,
	0x9f /* 0x61 Keypad 9 */,
	0x92 /* 0x62 Keypad 0 */,
	0x94 /* 0x63 Keypad . */,
	0x00 /* 0x64 Keypad \ (Non-US) */,
	0xb1 /* 0x65 Compose */,
	0x00 /* 0x66 Power */,
	0x00 /* 0x67 Keypad = */,
	0x73 /* 0x68 F13 */,
	0x74 /* 0x69 F14 */,
	0x7c /* 0x6a F15 */,
	0x7d /* 0x6b F16 */,
	0x80 /* 0x6c F17 */,
	0x81 /* 0x6d F18 */,
	0x82 /* 0x6e F19 */,
	0x83 /* 0x6f F20 */,
	0x00 /* 0x70 F21 */,
	0x00 /* 0x71 F22 */,
	0x00 /* 0x72 F23 */,
	0x00 /* 0x73 F24 */,
	0x00 /* 0x74 Execute */,
	0x00 /* 0x75 Help */,
	0x00 /* 0x76 Menu */,
	0x00 /* 0x77 Select */,
	0x00 /* 0x78 Stop */,
	0x00 /* 0x79 Again */,
	0x00 /* 0x7a Undo */,
	0x00 /* 0x7b Cut */,
	0x00 /* 0x7c Copy */,
	0x00 /* 0x7d Paste */,
	0x00 /* 0x7e Find */,
	0x00 /* 0x7f Mute */,
};
```
